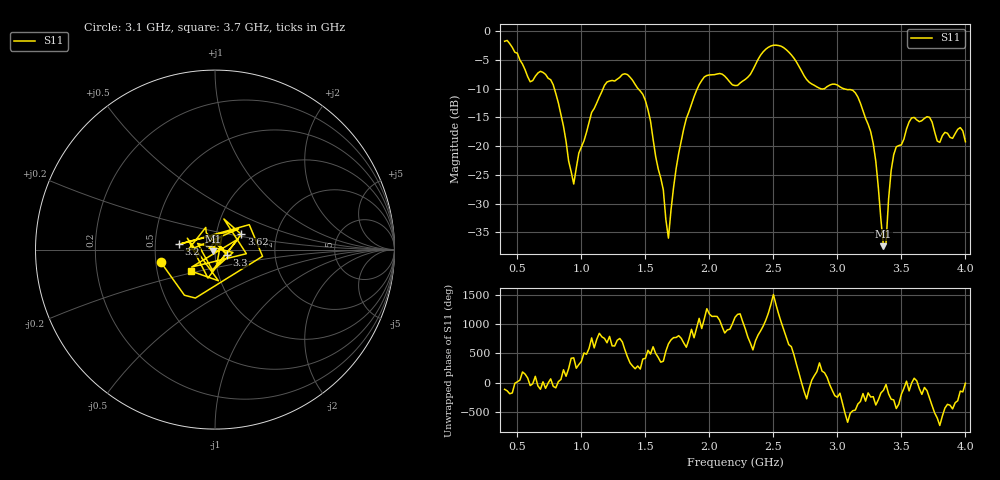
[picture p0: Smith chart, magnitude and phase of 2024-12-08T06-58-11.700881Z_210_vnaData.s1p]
!Created with skrf (http://scikit-rf.org).
# Hz S RI R 50.0
!freq ReS11 ImS11
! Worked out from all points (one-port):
!   181 points, 400 MHz to 4 GHz, reference 50 ohm
!   lowest |S11| = -37.4 dB at 3.36 GHz (marker M1), VSWR 1.03, Z = 49.1 - j0.975 ohm
!   |S11| at or under -10 dB: 788.9 MHz to 1.169 GHz (380.4 MHz wide, 38.9 % of centre); 1.443 GHz to 1.906 GHz (462.8 MHz wide, 27.6 % of centre); 3.051 GHz to end of sweep (the widest 3 of 4)
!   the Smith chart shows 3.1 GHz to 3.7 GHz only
!   S11 on the Smith chart (normalised r, x): 3.1 GHz: 0.53, -0.08; 3.2 GHz: 0.66, +0.04; 3.3 GHz: 1.14, -0.07; 3.62 GHz: 1.32, +0.23; 3.7 GHz: 0.74, -0.18
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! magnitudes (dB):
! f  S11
! 400 MHz  -1.7
! 600 MHz  -8.8
! 760 MHz  -8.4
! 860 MHz  -16.5
! 940 MHz  -26.6
! 1.08 GHz  -14.1
! 1.3 GHz  -8.0
! 1.5 GHz  -12.1
! 1.64 GHz  -27.6
! 1.68 GHz  -36.0
! 1.76 GHz  -21.3
! 1.96 GHz  -8.0
! 2.2 GHz  -9.4
! 2.48 GHz  -2.6
! 2.66 GHz  -4.7
! 2.84 GHz  -9.7
! 3.1 GHz  -10.1
! 3.2 GHz  -13.8
! 3.3 GHz  -22.6
! 3.36 GHz  -37.4
! 3.38 GHz  -36.9
! 3.4 GHz  -29.2
! 3.44 GHz  -21.5
! 3.56 GHz  -15.8
! 3.62 GHz  -15.4
! 3.7 GHz  -14.9
! 3.78 GHz  -19.1
! 4 GHz  -19.2
